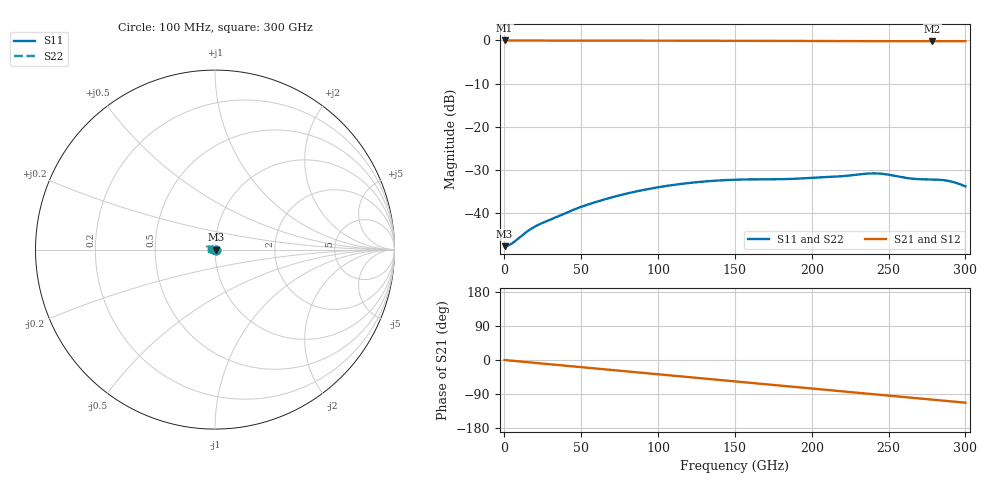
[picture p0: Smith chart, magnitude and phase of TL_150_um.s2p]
#  Hz  S  RI  R  50
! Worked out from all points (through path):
!   3000 points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, 100 MHz to 300 GHz, reference 50 ohm
!   highest |S21| = -0.03 dB at 100 MHz (marker M1); lowest = -0.2 dB at 278.4 GHz (marker M2)
!   group delay of S21, straight-line fit = 1.04 ps
!   lowest |S11| = -47.6 dB at 100 MHz (marker M3), VSWR 1.01, Z = 50.4 - j5.08e-05 ohm
!   |S11| at or under -10 dB: start of sweep to end of sweep
!   |S22| runs from -47.7 to -30.8 dB; largest |S21 - S12| = 0.0003
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1e8  0.00415 -5.03e-07  0.996 -0.000685  0.996 -0.000686  0.00412 1.88e-07
2.3e9  0.00423 -2.17e-05  0.9958 -0.0157  0.9958 -0.0158  0.0042 -6.71e-06
4.7e9  0.00444 -0.000107  0.9951 -0.0321  0.9951 -0.0321  0.00443 -8.2e-05
1.42e10  0.00579 -0.00171  0.9893 -0.0947  0.9893 -0.0946  0.00581 -0.00172
2.03e10  0.00614 -0.00351  0.9843 -0.1339  0.9843 -0.1339  0.00613 -0.00353
4.22e10  0.00493 -0.00921  0.9537 -0.2734  0.9538 -0.2734  0.00494 -0.00922
5.01e10  0.00399 -0.0112  0.9381 -0.3224  0.9381 -0.3225  0.00398 -0.0112
7.41e10  -8.55e-05 -0.016  0.875 -0.4652  0.8751 -0.4653  -9.35e-05 -0.016
8.63e10  -0.00269 -0.0177  0.8345 -0.5336  0.8345 -0.5335  -0.00268 -0.0177
1.001e11  -0.00586 -0.0191  0.7825 -0.6066  0.7824 -0.6067  -0.00586 -0.0191
1.255e11  -0.0117 -0.0196  0.67 -0.7276  0.67 -0.7277  -0.0117 -0.0196
1.501e11  -0.0164 -0.018  0.543 -0.8252  0.543 -0.8253  -0.0164 -0.018
1.754e11  -0.0191 -0.0157  0.3971 -0.9019  0.397 -0.9019  -0.0191 -0.0157
2.001e11  -0.0212 -0.0145  0.2456 -0.9502  0.2455 -0.9503  -0.0212 -0.0145
2.195e11  -0.0233 -0.0132  0.1238 -0.9707  0.1239 -0.9708  -0.0233 -0.0132
2.379e11  -0.0268 -0.0106  0.00947 -0.9769  0.00956 -0.9768  -0.0268 -0.0106
2.439e11  -0.0274 -0.0086  -0.0282 -0.977  -0.0281 -0.9771  -0.0274 -0.00859
2.501e11  -0.0271 -0.00643  -0.0676 -0.9755  -0.0677 -0.9757  -0.0271 -0.00643
2.649e11  -0.0248 -0.00388  -0.1624 -0.964  -0.1622 -0.9639  -0.0248 -0.00387
2.784e11  -0.0245 -0.00248  -0.2451 -0.9446  -0.2453 -0.9446  -0.0245 -0.00249
2.892e11  -0.0236 0.000236  -0.3105 -0.9264  -0.3103 -0.9263  -0.0236 0.000245
3e11  -0.0203 0.0021  -0.3765 -0.9019  -0.3767 -0.9021  -0.0203 0.00211
